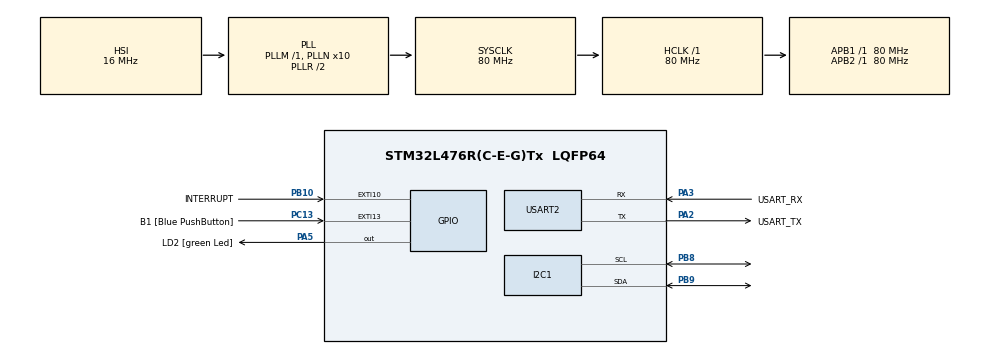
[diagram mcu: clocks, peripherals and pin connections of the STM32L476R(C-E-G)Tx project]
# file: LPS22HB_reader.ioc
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I2C1.Timing=0x10909CEC
Mcu.Family=STM32L4
Mcu.Name=STM32L476R(C-E-G)Tx
Mcu.Package=LQFP64
NVIC.EXTI15_10_IRQn=true\:0\:0\:false\:false\:true\:true\:true\:true
NVIC.I2C1_EV_IRQn=true\:0\:0\:false\:false\:true\:true\:true\:true
NVIC.PriorityGroup=NVIC_PRIORITYGROUP_4
PA13\ (JTMS-SWDIO).GPIO_Label=TMS
PA13\ (JTMS-SWDIO).Mode=Serial_Wire
PA13\ (JTMS-SWDIO).Signal=SYS_JTMS-SWDIO
PA14\ (JTCK-SWCLK).GPIO_Label=TCK
PA14\ (JTCK-SWCLK).Mode=Serial_Wire
PA14\ (JTCK-SWCLK).Signal=SYS_JTCK-SWCLK
PA2.GPIO_Label=USART_TX
PA2.GPIO_Mode=GPIO_MODE_AF_PP
PA2.GPIO_PuPd=GPIO_NOPULL
PA2.GPIO_Speed=GPIO_SPEED_FREQ_VERY_HIGH
PA2.Mode=Asynchronous
PA2.Signal=USART2_TX
PA3.GPIO_Label=USART_RX
PA3.GPIO_Mode=GPIO_MODE_AF_PP
PA3.GPIO_PuPd=GPIO_NOPULL
PA3.GPIO_Speed=GPIO_SPEED_FREQ_VERY_HIGH
PA3.Mode=Asynchronous
PA3.Signal=USART2_RX
PA5.GPIO_Label=LD2 [green Led]
PA5.GPIO_ModeDefaultOutputPP=GPIO_MODE_OUTPUT_PP
PA5.GPIO_PuPd=GPIO_NOPULL
PA5.GPIO_Speed=GPIO_SPEED_FREQ_LOW
PA5.Signal=GPIO_Output
PB10.GPIO_Label=INTERRUPT
PB10.GPIO_ModeDefaultEXTI=GPIO_MODE_IT_RISING
PB10.Signal=GPXTI10
PB3\ (JTDO-TRACESWO).GPIO_Label=SWO
PB3\ (JTDO-TRACESWO).Signal=SYS_JTDO-SWO
PB8.Mode=I2C
PB8.Signal=I2C1_SCL
PB9.Mode=I2C
PB9.Signal=I2C1_SDA
PC13.GPIO_Label=B1 [Blue PushButton]
PC13.GPIO_ModeDefaultEXTI=GPIO_MODE_IT_FALLING
PC13.GPIO_PuPd=GPIO_NOPULL
PC13.Signal=GPXTI13
PC14-OSC32_IN\ (PC14).Mode=LSE-External-Oscillator
PC14-OSC32_IN\ (PC14).Signal=RCC_OSC32_IN
PC15-OSC32_OUT\ (PC15).Mode=LSE-External-Oscillator
PC15-OSC32_OUT\ (PC15).Signal=RCC_OSC32_OUT
PH0-OSC_IN\ (PH0).Signal=RCC_OSC_IN
PH1-OSC_OUT\ (PH1).Signal=RCC_OSC_OUT
ProjectManager.HeapSize=0x200
ProjectManager.StackSize=0x400
ProjectManager.TargetToolchain=STM32CubeIDE
RCC.ADCFreq_Value=64000000
RCC.AHBFreq_Value=80000000
RCC.APB1Freq_Value=80000000
RCC.APB1TimFreq_Value=80000000
RCC.APB2Freq_Value=80000000
RCC.APB2TimFreq_Value=80000000
RCC.CortexFreq_Value=80000000
RCC.HCLKFreq_Value=80000000
RCC.HSE_VALUE=8000000
RCC.HSI_VALUE=16000000
RCC.MSI_VALUE=4000000
RCC.PLLN=10
RCC.PLLSourceVirtual=RCC_PLLSOURCE_HSI
RCC.PREFETCH_ENABLE=1
RCC.SYSCLKFreq_VALUE=80000000
RCC.SYSCLKSource=RCC_SYSCLKSOURCE_PLLCLK
RCC.USBFreq_Value=64000000
RCC.VCOOutputFreq_Value=160000000
USART2.VirtualMode-Asynchronous=VM_ASYNC
board=NUCLEO-L476RG

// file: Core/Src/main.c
/* USER CODE BEGIN Header */
/**
  ******************************************************************************
  * @file           : main.c
  * @brief          : Main program body
  ******************************************************************************
  * @attention
  *
  * Copyright (c) 2023 STMicroelectronics.
  * All rights reserved.
  *
  * This software is licensed under terms that can be found in the LICENSE file
  * in the root directory of this software component.
  * If no LICENSE file comes with this software, it is provided AS-IS.
  *
  ******************************************************************************
  */
/* USER CODE END Header */
#include "main.h"

/* USER CODE BEGIN Includes */

#include "lps22hb_register_map.h"

/* USER CODE END Includes */

/* USER CODE BEGIN PTD */

#define ADDRESS	(0b01011101<<1)

/* USER CODE END PTD */

I2C_HandleTypeDef hi2c1;

UART_HandleTypeDef huart2;

void SystemClock_Config(void);
static void MX_GPIO_Init(void);
static void MX_USART2_UART_Init(void);
static void MX_I2C1_Init(void);

/* USER CODE BEGIN 0 */

//uint32_t pressure_raw;
//int16_t temperature_raw;

float pressure_hPa;
float temperature_C;

uint8_t buffer[5];

void HAL_GPIO_EXTI_Callback(uint16_t GPIO_Pin) {
	if(GPIO_Pin==INTERRUPT_Pin) {
		HAL_I2C_Mem_Read_IT(&hi2c1, ADDRESS, LPS22HB_PRESS_OUT_XL, 1, buffer, 5);
	}
}

void HAL_I2C_MemRxCpltCallback(I2C_HandleTypeDef *hi2c) {
	if(hi2c->Instance==I2C1) {
		const uint32_t pressure_raw = (((uint32_t)buffer[2])<<16) | (((uint32_t)buffer[1])<<8) | buffer[0];
		const int16_t temperature_raw = (((uint16_t)buffer[4])<<8) | buffer[3];

		pressure_hPa = pressure_raw/4096.f;
		temperature_C = temperature_raw/100.f;

		HAL_GPIO_TogglePin(LD2_GPIO_Port, LD2_Pin);
	}
}

/* USER CODE END 0 */

int main(void)
{

  /* MCU Configuration--------------------------------------------------------*/

  /* Reset of all peripherals, Initializes the Flash interface and the Systick. */
  HAL_Init();

  /* Configure the system clock */
  SystemClock_Config();

  /* Initialize all configured peripherals */
  MX_GPIO_Init();
  MX_USART2_UART_Init();
  MX_I2C1_Init();

  /* Infinite loop */
  /* USER CODE BEGIN WHILE */

	HAL_NVIC_DisableIRQ(INTERRUPT_EXTI_IRQn);

	{
		uint8_t reg = 0;
		HAL_I2C_Mem_Read(&hi2c1, ADDRESS, LPS22HB_WHO_AM_I, 1, &reg, 1, HAL_MAX_DELAY);

		if(reg==0b10110001) {
		  HAL_GPIO_WritePin(LD2_GPIO_Port, LD2_Pin, GPIO_PIN_SET);
		}
	}

	{
		// BOOT
		// Software Reset
		uint8_t reg = (1<<7) || (1<<1);
		HAL_I2C_Mem_Write(&hi2c1, ADDRESS, LPS22HB_CTRL_REG2, 1, &reg, 1, HAL_MAX_DELAY);
	}

	{
		// Output Data Rate 25Hz
		uint8_t reg = (3<<4);
		HAL_I2C_Mem_Write(&hi2c1, ADDRESS, LPS22HB_CTRL_REG1, 1, &reg, 1, HAL_MAX_DELAY);
	}

	{
		// Register address automatically incremented
		uint8_t reg = (1<<4);
		HAL_I2C_Mem_Write(&hi2c1, ADDRESS, LPS22HB_CTRL_REG2, 1, &reg, 1, HAL_MAX_DELAY);
	}

	{
		// DRDY interrupt
		uint8_t reg = (1<<2);
		HAL_I2C_Mem_Write(&hi2c1, ADDRESS, LPS22HB_CTRL_REG3, 1, &reg, 1, HAL_MAX_DELAY);
	}

	HAL_NVIC_EnableIRQ(INTERRUPT_EXTI_IRQn);

	// dummy read
	HAL_I2C_Mem_Read(&hi2c1, ADDRESS, LPS22HB_PRESS_OUT_XL, 1, buffer, 5, HAL_MAX_DELAY);

  while(1) {

	/*{
		uint8_t buffer[5] = {0};
		HAL_I2C_Mem_Read(&hi2c1, ADDRESS, LPS22HB_PRESS_OUT_XL, 1, buffer, 5, HAL_MAX_DELAY);

		pressure_raw = (((uint32_t)buffer[2])<<16) | (((uint32_t)buffer[1])<<8) | buffer[0];
		temperature_raw = (((uint16_t)buffer[4])<<8) | buffer[3];

		pressure_hPa = pressure_raw/4096.f;
		temperature_C = temperature_raw/100.f;
	}

	HAL_Delay(100);*/

    /* USER CODE END WHILE */

  }
}

void SystemClock_Config(void)
{
  RCC_OscInitTypeDef RCC_OscInitStruct = {0};
  RCC_ClkInitTypeDef RCC_ClkInitStruct = {0};

  /** Configure the main internal regulator output voltage
  */
  if (HAL_PWREx_ControlVoltageScaling(PWR_REGULATOR_VOLTAGE_SCALE1) != HAL_OK)
  {
    Error_Handler();
  }

  /** Initializes the RCC Oscillators according to the specified parameters
  * in the RCC_OscInitTypeDef structure.
  */
  RCC_OscInitStruct.OscillatorType = RCC_OSCILLATORTYPE_HSI;
  RCC_OscInitStruct.HSIState = RCC_HSI_ON;
  RCC_OscInitStruct.HSICalibrationValue = RCC_HSICALIBRATION_DEFAULT;
  RCC_OscInitStruct.PLL.PLLState = RCC_PLL_ON;
  RCC_OscInitStruct.PLL.PLLSource = RCC_PLLSOURCE_HSI;
  RCC_OscInitStruct.PLL.PLLM = 1;
  RCC_OscInitStruct.PLL.PLLN = 10;
  RCC_OscInitStruct.PLL.PLLP = RCC_PLLP_DIV7;
  RCC_OscInitStruct.PLL.PLLQ = RCC_PLLQ_DIV2;
  RCC_OscInitStruct.PLL.PLLR = RCC_PLLR_DIV2;
  if (HAL_RCC_OscConfig(&RCC_OscInitStruct) != HAL_OK)
  {
    Error_Handler();
  }

  /** Initializes the CPU, AHB and APB buses clocks
  */
  RCC_ClkInitStruct.ClockType = RCC_CLOCKTYPE_HCLK|RCC_CLOCKTYPE_SYSCLK
                              |RCC_CLOCKTYPE_PCLK1|RCC_CLOCKTYPE_PCLK2;
  RCC_ClkInitStruct.SYSCLKSource = RCC_SYSCLKSOURCE_PLLCLK;
  RCC_ClkInitStruct.AHBCLKDivider = RCC_SYSCLK_DIV1;
  RCC_ClkInitStruct.APB1CLKDivider = RCC_HCLK_DIV1;
  RCC_ClkInitStruct.APB2CLKDivider = RCC_HCLK_DIV1;

  if (HAL_RCC_ClockConfig(&RCC_ClkInitStruct, FLASH_LATENCY_4) != HAL_OK)
  {
    Error_Handler();
  }
}

static void MX_I2C1_Init(void)
{

  hi2c1.Instance = I2C1;
  hi2c1.Init.Timing = 0x10909CEC;
  hi2c1.Init.OwnAddress1 = 0;
  hi2c1.Init.AddressingMode = I2C_ADDRESSINGMODE_7BIT;
  hi2c1.Init.DualAddressMode = I2C_DUALADDRESS_DISABLE;
  hi2c1.Init.OwnAddress2 = 0;
  hi2c1.Init.OwnAddress2Masks = I2C_OA2_NOMASK;
  hi2c1.Init.GeneralCallMode = I2C_GENERALCALL_DISABLE;
  hi2c1.Init.NoStretchMode = I2C_NOSTRETCH_DISABLE;
  if (HAL_I2C_Init(&hi2c1) != HAL_OK)
  {
    Error_Handler();
  }

  /** Configure Analogue filter
  */
  if (HAL_I2CEx_ConfigAnalogFilter(&hi2c1, I2C_ANALOGFILTER_ENABLE) != HAL_OK)
  {
    Error_Handler();
  }

  /** Configure Digital filter
  */
  if (HAL_I2CEx_ConfigDigitalFilter(&hi2c1, 0) != HAL_OK)
  {
    Error_Handler();
  }

}

static void MX_USART2_UART_Init(void)
{

  huart2.Instance = USART2;
  huart2.Init.BaudRate = 115200;
  huart2.Init.WordLength = UART_WORDLENGTH_8B;
  huart2.Init.StopBits = UART_STOPBITS_1;
  huart2.Init.Parity = UART_PARITY_NONE;
  huart2.Init.Mode = UART_MODE_TX_RX;
  huart2.Init.HwFlowCtl = UART_HWCONTROL_NONE;
  huart2.Init.OverSampling = UART_OVERSAMPLING_16;
  huart2.Init.OneBitSampling = UART_ONE_BIT_SAMPLE_DISABLE;
  huart2.AdvancedInit.AdvFeatureInit = UART_ADVFEATURE_NO_INIT;
  if (HAL_UART_Init(&huart2) != HAL_OK)
  {
    Error_Handler();
  }

}

static void MX_GPIO_Init(void)
{
  GPIO_InitTypeDef GPIO_InitStruct = {0};

  /* GPIO Ports Clock Enable */
  __HAL_RCC_GPIOC_CLK_ENABLE();
  __HAL_RCC_GPIOH_CLK_ENABLE();
  __HAL_RCC_GPIOA_CLK_ENABLE();
  __HAL_RCC_GPIOB_CLK_ENABLE();

  /*Configure GPIO pin Output Level */
  HAL_GPIO_WritePin(LD2_GPIO_Port, LD2_Pin, GPIO_PIN_RESET);

  /*Configure GPIO pin : B1_Pin */
  GPIO_InitStruct.Pin = B1_Pin;
  GPIO_InitStruct.Mode = GPIO_MODE_IT_FALLING;
  GPIO_InitStruct.Pull = GPIO_NOPULL;
  HAL_GPIO_Init(B1_GPIO_Port, &GPIO_InitStruct);

  /*Configure GPIO pin : LD2_Pin */
  GPIO_InitStruct.Pin = LD2_Pin;
  GPIO_InitStruct.Mode = GPIO_MODE_OUTPUT_PP;
  GPIO_InitStruct.Pull = GPIO_NOPULL;
  GPIO_InitStruct.Speed = GPIO_SPEED_FREQ_LOW;
  HAL_GPIO_Init(LD2_GPIO_Port, &GPIO_InitStruct);

  /*Configure GPIO pin : INTERRUPT_Pin */
  GPIO_InitStruct.Pin = INTERRUPT_Pin;
  GPIO_InitStruct.Mode = GPIO_MODE_IT_RISING;
  GPIO_InitStruct.Pull = GPIO_NOPULL;
  HAL_GPIO_Init(INTERRUPT_GPIO_Port, &GPIO_InitStruct);

  /* EXTI interrupt init*/
  HAL_NVIC_SetPriority(EXTI15_10_IRQn, 0, 0);
  HAL_NVIC_EnableIRQ(EXTI15_10_IRQn);

}

void Error_Handler(void)
{
  __disable_irq();
  while (1)
  {
  }
}
